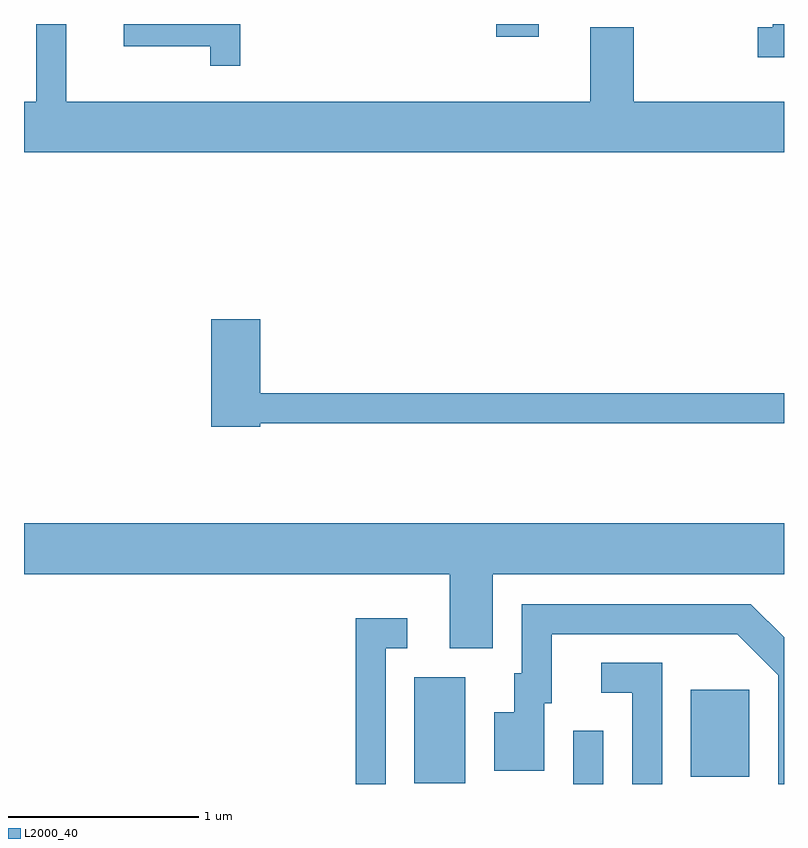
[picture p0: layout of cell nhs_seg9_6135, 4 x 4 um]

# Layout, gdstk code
import gdstk
lib = gdstk.Library(unit=1e-6, precision=1e-09)
def R(c, l, rs):  # rectangles x0, y0, x1, y1
    for r in rs: c.add(gdstk.rectangle(r[:2], r[2:], *l))
def P(c, l, *ps):  # polygons
    for p in ps: c.add(gdstk.Polygon(p, *l))
L2000_40 = (2000, 40)

nhs_seg9_6135 = lib.new_cell('nhs_seg9_6135')
R(nhs_seg9_6135, L2000_40, [(368.501,2048.432,368.659,2048.713), (367.666,2048.436,367.934,2048.994), (369.121,2048.471,369.429,2048.929), (368.096,2052.366,368.319,2052.432)])
P(nhs_seg9_6135, L2000_40, [(369.611,2052.024),(368.819,2052.024),(368.819,2052.414),(368.591,2052.414),(368.591,2052.024),(365.834,2052.024),(365.834,2052.432),(365.676,2052.432),(365.676,2052.024),(365.611,2052.024),(365.611,2051.756),(369.611,2051.756)],
  [(369.611,2052.432),(369.551,2052.432),(369.551,2052.414),(369.473,2052.414),(369.473,2052.256),(369.611,2052.256)],
  [(366.749,2052.432),(366.136,2052.432),(366.136,2052.316),(366.591,2052.316),(366.591,2052.213),(366.749,2052.213)],
  [(366.854,2050.331),(369.611,2050.331),(369.611,2050.489),(366.854,2050.489),(366.854,2050.879),(366.596,2050.879),(366.596,2050.311),(366.854,2050.311)],
  [(368.079,2049.536),(369.611,2049.536),(369.611,2049.804),(365.611,2049.804),(365.611,2049.536),(367.851,2049.536),(367.851,2049.146),(368.079,2049.146)],
  [(369.611,2049.205),(369.437,2049.379),(368.231,2049.379),(368.231,2049.014),(368.191,2049.014),(368.191,2048.809),(368.086,2048.809),(368.086,2048.501),(368.349,2048.501),(368.349,2048.856),(368.389,2048.856),(368.389,2049.221),(369.364,2049.221),(369.581,2049.004),(369.581,2048.432),(369.611,2048.432)],
  [(367.514,2049.146),(367.628,2049.146),(367.628,2049.304),(367.356,2049.304),(367.356,2048.432),(367.514,2048.432)],
  [(368.969,2049.069),(368.648,2049.069),(368.648,2048.911),(368.811,2048.911),(368.811,2048.432),(368.969,2048.432)])

lib.write_gds('nhs_seg9_6135.gds')
